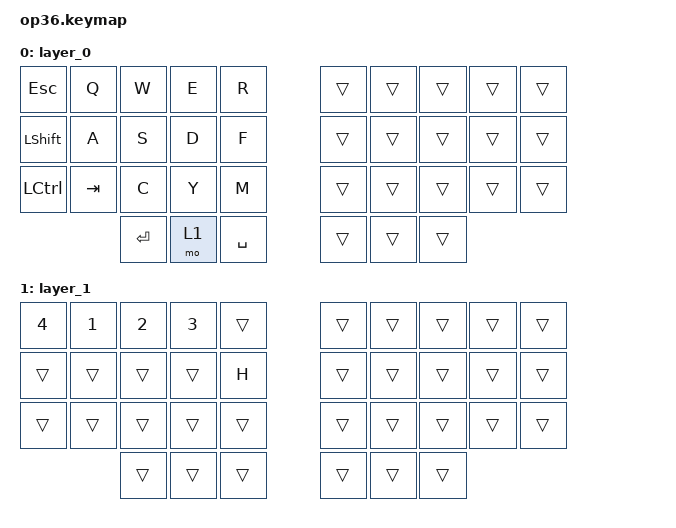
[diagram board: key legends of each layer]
#include "keys_ru.h"
#include <behaviors.dtsi>
#include <dt-bindings/zmk/keys.h>

#define ZMK_POINTING_DEFAULT_SCRL_VAL 40

/ {
    combos { compatible = "zmk,combos"; };

    behaviors {
        ltd: ltd {
            compatible = "zmk,behavior-hold-tap";
            label = "LTD";
            bindings = <&mo>, <&kp>;

            #binding-cells = <2>;
            tapping-term-ms = <180>;
            quick-tap-ms = <150>;
            require-prior-idle-ms = <100>;
            hold-trigger-key-positions = <30 31>;
            flavor = "tap-preferred";
        };
    };

    keymap {
        compatible = "zmk,keymap";

        layer_0 {
            bindings = <
  &kp ESC    &kp Q    &kp W  &kp E      &kp R                       &trans  &trans  &trans  &trans  &trans
  &kp LSHFT  &kp A    &kp S  &kp D      &kp F                       &trans  &trans  &trans  &trans  &trans
  &kp LCTRL  &kp TAB  &kp C  &kp Y      &kp M                       &trans  &trans  &trans  &trans  &trans
                             &kp ENTER  &mo 1  &kp SPACE    &trans  &trans  &trans
            >;
        };

        layer_1 {
            bindings = <
  &kp N4  &kp N1  &kp N2  &kp N3  &trans                    &trans  &trans  &trans  &trans  &trans
  &trans  &trans  &trans  &trans  &kp H                     &trans  &trans  &trans  &trans  &trans
  &trans  &trans  &trans  &trans  &trans                    &trans  &trans  &trans  &trans  &trans
                          &trans  &trans  &trans    &trans  &trans  &trans
            >;
        };
    };
};
